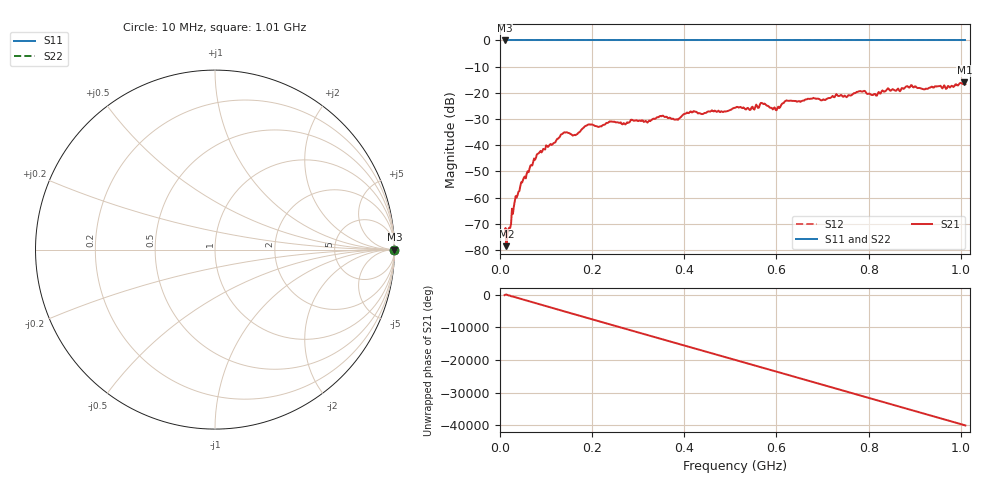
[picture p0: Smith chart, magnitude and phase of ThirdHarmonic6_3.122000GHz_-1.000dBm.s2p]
! 8/17/2025 9:16:12 AM
! C:\ANRITSUVNA\TEMP\TEMP.S2P
! CHANNEL.1
! TR.MEASUREMENT
! RAW.DATA
! RF.CORRECTION.OFF
! AVERAGING.OFF
! IF.BANDWIDTH: 5KHZ
! SWEEPTYPE:  FREQ.SWEEP(Linear)
! Reference Plane Port Info
! PORT:  PORT1  PORT2
! DISTANCE:  0  m  0  m
! TIME:  0  s  0  s
! PHASE.OFFSET:  0  deg.  0  deg.
! LOSS:  0  dB  0  dB
! REF.LOSS:  0  dB  0  dB
! REF.FREQ:  0  Hz  0  Hz
! Power Info
! POWER:  -20  dBm  -20  dBm
! EFF.POWER:  -20  dBm  -20  dBm
! SOURCE.ATTEN:  0  dB  0  dB
! TEST.ATTEN:  0  dB  0  dB
# GHZ S RI R 50.0
! FREQ.GHZ  S11RE  S11IM  S21RE  S21IM  S12RE  S12IM  S22RE  S22IM
!; PortSelection: Port_12
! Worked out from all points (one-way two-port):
!   501 points, 10 MHz to 1.01 GHz, reference 50 ohm
!   highest |S21| = -16.02 dB at 1.008 GHz (marker M1); lowest = -78.6 dB at 14 MHz (marker M2)
!   lowest |S11| = 0.0 dB at 10 MHz (marker M3)
!   |S11| at or under -10 dB: nowhere
!   |S22| runs from 0.0 to 0.0 dB; largest |S21 - S12| = 1.1
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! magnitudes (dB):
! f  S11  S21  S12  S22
! 10 MHz  0.0  -74.2  0.0  0.0
! 14 MHz  0.0  -78.6  0.0  0.0
! 18 MHz  0.0  -72.1  0.0  0.0
! 30 MHz  0.0  -63.5  0.0  0.0
! 48 MHz  0.0  -54.3  0.0  0.0
! 84 MHz  0.0  -43.1  0.0  0.0
! 136 MHz  0.0  -35.6  0.0  0.0
! 162 MHz  0.0  -36.0  0.0  0.0
! 178 MHz  0.0  -33.8  0.0  0.0
! 344 MHz  0.0  -29.3  0.0  0.0
! 382 MHz  0.0  -30.2  0.0  0.0
! 416 MHz  0.0  -27.5  0.0  0.0
! 510 MHz  0.0  -25.7  0.0  0.0
! 570 MHz  0.0  -24.1  0.0  0.0
! 596 MHz  0.0  -25.6  0.0  0.0
! 622 MHz  0.0  -22.9  0.0  0.0
! 678 MHz  0.0  -22.2  0.0  0.0
! 780 MHz  0.0  -19.4  0.0  0.0
! 814 MHz  0.0  -20.5  0.0  0.0
! 844 MHz  0.0  -18.6  0.0  0.0
! 1.008 GHz  0.0  -16.0  0.0  0.0
! 1.01 GHz  0.0  -16.7  0.0  0.0
